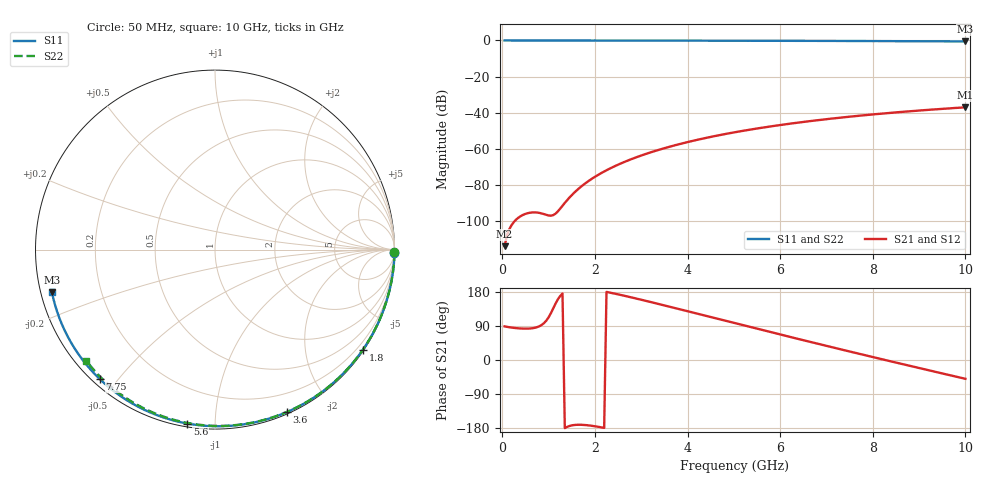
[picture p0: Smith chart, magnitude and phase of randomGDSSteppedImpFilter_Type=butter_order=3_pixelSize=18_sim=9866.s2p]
! freq	dB(S11)	phase(S11)	dB(S12)	phase(S12)
!  dB(S21)	phase(S21)	dB(S22)	phase(S22)
!S-par simulation data
#  GHz  S  DB  R 50
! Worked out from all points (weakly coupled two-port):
!   200 points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, 50 MHz to 10 GHz, reference 50 ohm
!   highest |S21| = -37.09 dB at 10 GHz (marker M1); lowest = -114.1 dB at 50 MHz (marker M2)
!   lowest |S11| = -0.5 dB at 10 GHz (marker M3), VSWR 31.78, Z = 1.6 - j6.36 ohm
!   |S11| at or under -10 dB: nowhere
!   |S22| runs from -0.5 to 0.0 dB; largest |S21 - S12| = 0
!   S11 on the Smith chart (normalised r, x): 50 MHz: open; 1.8 GHz: 0.03, -3.26; 3.6 GHz: 0.02, -1.53; 5.6 GHz: 0.02, -0.85; 7.75 GHz: 0.02, -0.45; 10 GHz: 0.03, -0.13
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0.05  -0.00 -1.0  -114.09 88.7  -114.09 88.7  -0.00 -0.8
0.45  -0.01 -8.7  -96.71 82.8  -96.71 82.8  -0.01 -7.2
0.85  -0.02 -16.3  -95.94 92.5  -95.94 92.5  -0.02 -13.6
1.3  -0.03 -24.8  -91.68 175.4  -91.68 175.4  -0.03 -20.7
1.75  -0.04 -33.2  -80.07 -171.2  -80.07 -171.2  -0.04 -27.8
1.8  -0.04 -34.1  -79.10 -171.7  -79.10 -171.7  -0.04 -28.6
1.95  -0.05 -36.9  -76.44 -173.9  -76.44 -173.9  -0.04 -30.9
2.1  -0.05 -39.6  -74.09 -176.9  -74.09 -176.9  -0.04 -33.2
2.3  -0.06 -43.3  -71.32 178.5  -71.32 178.5  -0.05 -36.3
2.5  -0.06 -46.9  -68.89 173.3  -68.89 173.3  -0.05 -39.3
2.9  -0.07 -54.0  -64.73 162.0  -64.73 162.0  -0.06 -45.4
3.4  -0.08 -62.8  -60.49 147.1  -60.49 147.1  -0.07 -52.8
3.6  -0.09 -66.2  -59.02 141.0  -59.02 141.0  -0.07 -55.8
4.3  -0.11 -78.1  -54.59 119.5  -54.59 119.5  -0.09 -65.9
5.05  -0.14 -90.3  -50.78 96.4  -50.78 96.4  -0.12 -76.4
5.6  -0.16 -99.0  -48.43 79.6  -48.43 79.6  -0.14 -83.8
6.15  -0.19 -107.6  -46.37 62.8  -46.37 62.8  -0.16 -91.2
6.7  -0.23 -116.0  -44.56 46.2  -44.56 46.2  -0.19 -98.3
7.75  -0.30 -131.7  -41.63 15.1  -41.63 15.1  -0.26 -111.6
8.35  -0.36 -140.6  -40.22 -2.4  -40.22 -2.4  -0.30 -119.1
9.2  -0.45 -153.3  -38.48 -26.9  -38.48 -26.9  -0.38 -129.4
10  -0.55 -165.5  -37.09 -49.6  -37.09 -49.6  -0.47 -139.2
